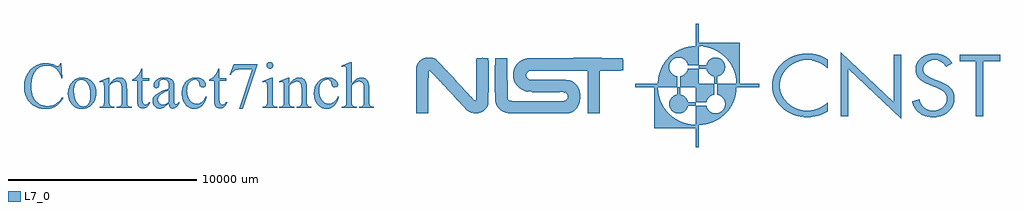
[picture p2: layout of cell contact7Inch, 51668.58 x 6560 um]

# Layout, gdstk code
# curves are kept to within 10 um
import gdstk
lib = gdstk.Library(unit=1e-6, precision=1e-09)
def P(c, l, *ps):  # polygons
    for p in ps: c.add(gdstk.Polygon(p, *l))
L7_0 = (7, 0)

contact7inch = lib.new_cell('contact7Inch')
P(contact7inch, L7_0, [(-6191.422,-83947.859),(-6398.338,-83920.322),(-6592.51,-83826.516),(-6038.686,-83817.971),(-5901.967,-83749.611),(-5807.908,-83631.618),(-5770.896,-83532.551),(-5743.558,-83374.17),(-5748.044,-83022.437),(-5806.927,-82768.012),(-5855.295,-82659.546),(-5931.708,-82543.711),(-6016.653,-82463.603),(-6114.62,-82415.537),(-6225.609,-82399.516),(-6339.154,-82420.542),(-6429.921,-82468.069),(-6508.216,-82552.343),(-6568.654,-82677.143),(-6597.73,-82796.426),(-6611.828,-82989.109),(-6598.561,-83193.553),(-6558.758,-83379.64),(-6507.811,-83515.291),(-6421.987,-83662.926),(-6340.571,-83748.109),(-6223.629,-83811.028),(-6117.937,-83826.516),(-6592.51,-83826.516),(-6670.383,-83761.706),(-6794.929,-83605.577),(-6874.006,-83446.891),(-6918.701,-83276.862),(-6928.034,-83078.876),(-6903,-82917.973),(-6847.925,-82757.794),(-6765.266,-82605.122),(-6663.008,-82481.995),(-6541.766,-82390.109),(-6408.146,-82328.144),(-6268.757,-82294.777),(-6128.739,-82289.477),(-5964.143,-82314.792),(-5817.064,-82373.861),(-5718.251,-82440.314),(-5601.828,-82558.453),(-5505.398,-82709.32),(-5453.969,-82839.628),(-5425.397,-82978.484),(-5420.544,-83140.865),(-5444.176,-83299.719),(-5496.165,-83460.014),(-5574.964,-83614.808),(-5675.538,-83741.541),(-5775.688,-83824.39),(-5888.448,-83886.332),(-6034.286,-83932.477)],
  [(-5251.484,-83900),(-5251.484,-83838.469),(-5098.14,-83814.772),(-5055.805,-83777.805),(-5030.292,-83716.804),(-5014.592,-83587.238),(-5014.738,-82837.974),(-5023.747,-82640.505),(-5053.664,-82551.503),(-5080.422,-82528.217),(-5136.984,-82515.719),(-5251.484,-82541.359),(-5277.109,-82479.828),(-4805.437,-82288.422),(-4731.953,-82288.422),(-4731.953,-82619.969),(-4529.194,-82417.932),(-4333.65,-82309.144),(-4238.585,-82289.717),(-4145.454,-82292.427),(-4035.223,-82324.47),(-3964.351,-82369.825),(-3869.553,-82495.267),(-3831.048,-82590.92),(-3811.664,-82693.457),(-3788.81,-83715.433),(-3767.497,-83768.091),(-3717.664,-83814.547),(-3563,-83838.469),(-3563,-83900),(-4337.172,-83900),(-4337.172,-83838.469),(-4211.777,-83830.139),(-4131.616,-83786.512),(-4091.078,-83706.891),(-4084.677,-83606.906),(-4085.118,-82853.798),(-4105.945,-82684.071),(-4172.312,-82552.941),(-4238.922,-82512.204),(-4326.922,-82498.625),(-4428.502,-82512.511),(-4529.867,-82554.168),(-4631.018,-82623.597),(-4731.953,-82720.797),(-4721.38,-83716.385),(-4700.067,-83765.891),(-4647.352,-83815.398),(-4477.312,-83838.469),(-4477.312,-83900)],
  [(-2078.312,-83932.469),(-2155.907,-83925.526),(-2258.885,-83889.076),(-2345.766,-83821.383),(-2406.547,-83734.234),(-1869.491,-83728.226),(-1726.685,-83667.474),(-1579.281,-83563.328),(-1579.281,-82966.891),(-1863.508,-83087.058),(-1975.232,-83150.185),(-2071.795,-83228.802),(-2141.067,-83333.076),(-2162.617,-83478.936),(-2122.426,-83609.848),(-2032.031,-83702.524),(-1921.078,-83734.234),(-2406.547,-83734.234),(-2449.233,-83573.347),(-2430.843,-83398.036),(-2358.1,-83273.659),(-2197.82,-83138.012),(-1993.65,-83029.01),(-1579.281,-82862.641),(-1597.867,-82603.73),(-1644.622,-82491.297),(-1718.875,-82426.717),(-1835.406,-82394.034),(-1966.375,-82407.199),(-2040.719,-82450.781),(-2089.422,-82513.16),(-2104.642,-82565.548),(-2104.745,-82720.265),(-2124.827,-82780.933),(-2176.005,-82830.576),(-2247.5,-82847.266),(-2317.528,-82829.907),(-2375.361,-82764.936),(-2391.047,-82681.5),(-2376.36,-82591.972),(-2332.301,-82507.12),(-2275.904,-82442.604),(-2179.994,-82369.652),(-2085.841,-82327.355),(-1946.823,-82296.112),(-1818.547,-82288.422),(-1672.747,-82298.277),(-1548.099,-82327.841),(-1452.371,-82372.677),(-1389.164,-82426.426),(-1340.855,-82497.001),(-1314.603,-82570.621),(-1297.778,-82770.626),(-1295.162,-83537.057),(-1277.439,-83672.918),(-1239.41,-83711.15),(-1178.1,-83708.698),(-1029,-83578.703),(-1029,-83674.406),(-1193.209,-83849.652),(-1328.751,-83921.753),(-1434.45,-83927.134),(-1515.091,-83886.276),(-1565.613,-83794.039),(-1579.281,-83674.406),(-1881.781,-83889.75),(-1977.055,-83921.789)],
  [(-239.906,-83947.859),(-368.938,-83933.867),(-518.21,-83877.021),(-654.129,-83776.449),(-751.221,-83665.549),(-825.562,-83533.957),(-875.122,-83382.713),(-902.226,-83166.023),(-895.279,-82985.439),(-872.117,-82861.61),(-817.215,-82711.645),(-734.862,-82578.983),(-627.113,-82465.066),(-506.309,-82378.546),(-374.504,-82320.867),(-231.699,-82292.027),(-72.537,-82292.718),(100.18,-82336.154),(258.073,-82441.313),(357.387,-82583.078),(371.906,-82664.406),(361.439,-82723.15),(330.039,-82769.508),(279.838,-82799.631),(144.317,-82800.538),(89.605,-82773.136),(53.917,-82734.735),(0.412,-82519.139),(-32.631,-82468.193),(-79.587,-82431.768),(-162.47,-82406.127),(-254.248,-82404.898),(-349.347,-82427.129),(-416.053,-82462.698),(-487.719,-82529.391),(-548.278,-82619.861),(-591.535,-82723.789),(-617.489,-82841.174),(-625.603,-83006.794),(-612.706,-83140.765),(-535.323,-83384.031),(-452.669,-83517.041),(-349.712,-83613.388),(-227.894,-83667.845),(-75.522,-83679.461),(42.078,-83652.625),(150.063,-83593.586),(253.692,-83489.767),(366.781,-83281.344),(416.344,-83305.266),(337.789,-83548.615),(272.046,-83663.146),(191.136,-83759.84),(-0.483,-83895.136),(-130.425,-83937.445)],
  [(3378.844,-83900),(3378.844,-83838.469),(3532.648,-83816.258),(3582.474,-83766.594),(3605.117,-83711.262),(3618.094,-83546.234),(3617.133,-82826.864),(3606.322,-82634.741),(3577.08,-82549.852),(3551.125,-82527.738),(3495.047,-82515.719),(3378.844,-82541.359),(3354.922,-82479.828),(3826.594,-82288.422),(3901.797,-82288.422),(3910.14,-83691.574),(3935.118,-83764.725),(3976.236,-83808.179),(4045.557,-83832.488),(4139.344,-83838.469),(4139.344,-83900)],
  [(4270.516,-83900),(4270.516,-83838.469),(4423.86,-83814.772),(4466.195,-83777.805),(4491.708,-83716.804),(4507.408,-83587.238),(4507.262,-82837.974),(4498.253,-82640.505),(4468.336,-82551.503),(4441.578,-82528.217),(4385.016,-82515.719),(4270.516,-82541.359),(4244.891,-82479.828),(4716.563,-82288.422),(4790.047,-82288.422),(4790.047,-82619.969),(4992.806,-82417.932),(5188.35,-82309.144),(5283.415,-82289.717),(5376.546,-82292.427),(5486.777,-82324.47),(5557.649,-82369.825),(5652.447,-82495.267),(5690.952,-82590.92),(5710.336,-82693.457),(5733.19,-83715.433),(5754.503,-83768.091),(5804.336,-83814.547),(5959,-83838.469),(5959,-83900),(5184.828,-83900),(5184.828,-83838.469),(5310.223,-83830.139),(5390.384,-83786.512),(5430.922,-83706.891),(5437.323,-83606.906),(5436.882,-82853.798),(5416.055,-82684.071),(5349.688,-82552.941),(5283.078,-82512.204),(5195.078,-82498.625),(5093.498,-82512.511),(4992.133,-82554.168),(4890.982,-82623.597),(4790.047,-82720.797),(4800.62,-83716.385),(4821.933,-83765.891),(4874.648,-83815.398),(5044.688,-83838.469),(5044.688,-83900)],
  [(6757.094,-83947.859),(6628.062,-83933.867),(6478.79,-83877.021),(6342.871,-83776.449),(6245.779,-83665.549),(6171.438,-83533.957),(6121.878,-83382.713),(6094.774,-83166.023),(6101.721,-82985.439),(6124.883,-82861.61),(6179.785,-82711.645),(6262.138,-82578.983),(6369.887,-82465.066),(6490.691,-82378.546),(6622.496,-82320.867),(6765.301,-82292.027),(6924.463,-82292.718),(7097.18,-82336.154),(7255.073,-82441.313),(7354.387,-82583.078),(7368.906,-82664.406),(7358.439,-82723.15),(7327.039,-82769.508),(7276.838,-82799.631),(7141.317,-82800.538),(7086.605,-82773.136),(7050.917,-82734.735),(6997.412,-82519.139),(6964.369,-82468.193),(6917.413,-82431.768),(6834.53,-82406.127),(6742.752,-82404.898),(6647.653,-82427.129),(6580.947,-82462.698),(6509.281,-82529.391),(6448.722,-82619.861),(6405.465,-82723.789),(6379.511,-82841.174),(6371.397,-83006.794),(6384.294,-83140.765),(6461.677,-83384.031),(6544.331,-83517.041),(6647.288,-83613.388),(6769.106,-83667.845),(6921.478,-83679.461),(7039.078,-83652.625),(7147.063,-83593.586),(7250.692,-83489.767),(7363.781,-83281.344),(7413.344,-83305.266),(7334.789,-83548.615),(7269.046,-83663.146),(7188.136,-83759.84),(6996.517,-83895.136),(6866.575,-83937.445)],
  [(-2964.859,-83925.641),(-3061.787,-83908.615),(-3153.805,-83857.913),(-3220.163,-83777.003),(-3251.621,-83684.041),(-3265.641,-83506.937),(-3265.641,-82454.203),(-3513.437,-82454.203),(-3513.437,-82397.797),(-3345.687,-82292.1),(-3206.699,-82145.317),(-3124.437,-82018.515),(-3036.641,-81820.172),(-2983.656,-81820.172),(-2983.656,-82334.562),(-2617.937,-82334.562),(-2617.937,-82454.203),(-2983.656,-82454.203),(-2983.656,-83469.328),(-2966.634,-83620.741),(-2940.078,-83674.414),(-2903.91,-83706.697),(-2814.096,-83726.843),(-2705.894,-83683.081),(-2636.734,-83588.969),(-2570.078,-83588.969),(-2642.293,-83735.721),(-2712.712,-83818.594),(-2822.273,-83892.593)],
  [(1113.141,-83925.641),(1016.213,-83908.615),(924.195,-83857.913),(857.837,-83777.003),(826.379,-83684.041),(812.359,-83506.937),(812.359,-82454.203),(564.563,-82454.203),(564.563,-82397.797),(732.313,-82292.1),(871.301,-82145.317),(953.563,-82018.515),(1041.359,-81820.172),(1094.344,-81820.172),(1094.344,-82334.562),(1460.063,-82334.562),(1460.063,-82454.203),(1094.344,-82454.203),(1094.344,-83469.328),(1111.366,-83620.741),(1137.922,-83674.414),(1174.09,-83706.697),(1263.904,-83726.843),(1372.106,-83683.081),(1441.266,-83588.969),(1507.922,-83588.969),(1435.707,-83735.721),(1365.288,-83818.594),(1255.727,-83892.593)],
  [(2132.984,-83947.859),(2825.125,-81861.187),(2141.13,-81861.908),(1989.675,-81879.211),(1912.531,-81907.328),(1812.799,-81978.302),(1681.813,-82150),(1632.266,-82131.203),(1854.422,-81582.609),(3096.859,-81582.609),(3096.859,-81647.562),(2324.391,-83947.859)],
  [(-8127.234,-83952.984),(-8267.156,-83946.309),(-8461.818,-83911.261),(-8692.955,-83817.8),(-8891.622,-83670.933),(-9074.588,-83444.503),(-9180.534,-83226.007),(-9246.865,-82934.734),(-9245.437,-82607.26),(-9181.651,-82326.829),(-9058.932,-82069.154),(-8914.857,-81881.902),(-8737.856,-81731.42),(-8532.095,-81619.522),(-8272.905,-81545.245),(-8013.255,-81531.563),(-7764.603,-81577.706),(-7518.832,-81680.883),(-7466.464,-81689.774),(-7386.791,-81645.717),(-7334.266,-81529.641),(-7274.453,-81529.641),(-7221.469,-82317.484),(-7274.453,-82317.484),(-7384.499,-82045.886),(-7462.951,-81924.761),(-7552.725,-81828.417),(-7735.39,-81713.436),(-7853.308,-81674.557),(-7981.052,-81655.117),(-8105.595,-81654.517),(-8268.219,-81681.953),(-8488.584,-81784.927),(-8594.145,-81877.134),(-8667.418,-81970.488),(-8783.737,-82209.201),(-8831.719,-82391.348),(-8858.84,-82597.859),(-8863.94,-82857.914),(-8840.307,-83074.129),(-8788.313,-83266.793),(-8723.292,-83408.515),(-8619.07,-83551.272),(-8510.374,-83647.103),(-8356.503,-83733.38),(-8185.835,-83785.29),(-7999.062,-83802.594),(-7786.715,-83778.453),(-7644.84,-83728.663),(-7512.419,-83645.841),(-7371.749,-83510.896),(-7221.469,-83322.359),(-7168.484,-83356.547),(-7357.336,-83624.432),(-7462.654,-83727.292),(-7575.234,-83809.43),(-7696.893,-83872.235),(-7829.445,-83917.096)],
  [(3759.938,-81816.75),(3693.295,-81803.932),(3636.898,-81765.477),(3598.443,-81709.08),(3585.625,-81642.437),(3598.229,-81575.998),(3636.039,-81520.242),(3692.221,-81482.432),(3759.938,-81469.828),(3826.377,-81482.432),(3882.133,-81520.242),(3919.943,-81575.998),(3932.547,-81642.437),(3919.943,-81709.08),(3882.133,-81765.477),(3826.377,-81803.932)],
  [(7573.516,-83900),(7573.516,-83838.469),(7686.47,-83825.786),(7768.346,-83781.229),(7807.654,-83668.436),(7811.98,-82008.259),(7802.966,-81818.276),(7773.04,-81729.488),(7746.282,-81706.201),(7689.734,-81693.703),(7573.516,-81721.047),(7549.594,-81661.234),(8017.859,-81469.828),(8096.469,-81469.828),(8096.469,-82614.844),(8336.797,-82386.209),(8508.332,-82303.162),(8619.422,-82288.422),(8714.108,-82298.757),(8823.909,-82344.689),(8893.176,-82403.893),(8964.098,-82519.249),(9010.051,-82700.131),(9036.19,-83716.391),(9056.698,-83769.049),(9104.766,-83814.547),(9255.156,-83838.469),(9255.156,-83900),(8486.109,-83900),(8486.109,-83838.469),(8632.684,-83825.453),(8702.542,-83775.712),(8733.922,-83706.891),(8739.047,-83546.234),(8737.391,-82875.36),(8718.764,-82678.692),(8688.24,-82601.262),(8641.992,-82546.042),(8581.02,-82510.905),(8487.828,-82495.219),(8380.476,-82512.574),(8290.304,-82552.171),(8096.469,-82719.094),(8106.563,-83718.958),(8125.309,-83765.046),(8181.063,-83811.984),(8349.391,-83838.469),(8349.391,-83900)],
  [(25401.625,-84191.406),(25210.283,-84153.344),(25048.072,-84044.961),(24949.631,-83905.187),(24902.227,-83715.937),(24923.154,-83546.266),(25015.119,-83374.211),(25144.574,-83262.539),(25316.625,-83198.836),(25316.625,-82791.406),(25486.625,-82791.406),(25486.625,-83198.836),(25637.324,-83250.445),(25755.178,-83337.852),(25842.586,-83455.711),(25894.195,-83606.406),(26301.625,-83606.406),(26301.625,-83776.406),(25894.195,-83776.406),(25830.49,-83948.461),(25718.822,-84077.914),(25570.07,-84162.18)],
  [(26301.625,-83606.406),(26301.625,-82791.406),(25486.625,-82791.406),(25486.625,-82223.977),(25637.324,-82172.367),(25755.178,-82084.961),(25842.586,-81967.102),(25894.195,-81816.406),(26461.625,-81816.406),(26461.625,-82631.406),(27276.625,-82631.406),(27276.625,-83198.836),(27125.926,-83250.445),(27008.072,-83337.852),(26920.664,-83455.711),(26869.055,-83606.406)],
  [(18555.539,-84188.82),(16383.298,-84171.677),(16250.501,-84139.967),(16115.844,-84084.005),(15995.39,-84010.555),(15892.653,-83922.053),(15808.374,-83816.66),(15739.574,-83684.296),(15707.874,-83576.901),(15690.452,-83431.18),(15677.953,-81795.431),(15683.81,-81383.299),(15700.115,-81271.034),(16124.092,-81257.337),(16287.961,-81265.776),(16316.211,-81283.001),(16333.096,-81611.408),(16351.755,-83270.738),(16361.453,-83446.142),(16380.509,-83489.13),(16455.435,-83520.369),(16652.326,-83534.986),(17943.229,-83541.953),(19082.302,-83539.765),(19387.543,-83526.389),(19464.165,-83476.648),(19520.541,-83395.575),(19538.852,-83307.724),(19521.239,-83217.905),(19457.641,-83114.228),(19317.325,-83082.056),(17721.032,-83057.481),(17412.275,-83038.965),(17238.517,-82985.06),(16991.214,-82839.61),(16825.992,-82682.272),(16712.234,-82507.478),(16653.676,-82306.783),(16645.978,-82088.073),(16693.021,-81857.364),(16794.233,-81647.513),(16923.7,-81500.161),(17110.903,-81377.714),(17333.352,-81293.231),(17532.337,-81268.2),(20829.494,-81254.802),(22442.317,-81271.036),(22457.92,-81410.584),(22455.107,-81914.469),(21233.869,-81934.312),(21218.229,-84181.953),(20593.869,-84181.953),(20585.869,-81926.508),(17515.869,-81926.508),(17447.711,-81973.108),(17353.01,-82084.399),(17333.123,-82210.014),(17387.293,-82316.808),(17519.029,-82402.586),(19239.141,-82416.761),(19596.022,-82432.564),(19746.401,-82491.533),(19889.957,-82587.553),(20003.719,-82704.781),(20093.206,-82846.25),(20152.699,-82993.168),(20177.357,-83112.769),(20185.931,-83320.802),(20168.782,-83524.257),(20129.535,-83670.166),(20069.391,-83804.999),(19991.498,-83922.502),(19897.297,-84021.019),(19745.163,-84121.77),(19583.89,-84174.123)],
  [(11820.868,-84189.789),(11548.194,-84182.823),(11512.33,-84173.611),(11507.707,-84152.405),(11519.269,-81758.647),(11535.068,-81670.762),(11586.652,-81560.994),(11650.808,-81469.265),(11735.93,-81384.864),(11919.846,-81275.567),(12097.615,-81235.215),(12356.037,-81248.34),(12451.46,-81278.742),(12553.468,-81333.841),(13014.379,-81807.202),(14559.897,-83468.449),(14607.822,-83514.771),(14653.463,-83530.492),(14673.343,-83500.18),(14682.034,-83340.264),(14688.03,-81626.272),(14703.251,-81294.425),(14731.441,-81268.271),(14818.391,-81257.967),(15323.16,-81268.997),(15338.727,-81682.724),(15333.868,-83698.07),(15231.226,-83885.625),(15105.494,-84020.486),(15007.776,-84087.572),(14897.395,-84137.9),(14778.912,-84171.127),(14666.046,-84182.207),(14441.065,-84143.913),(14211.762,-84027.725),(13801.152,-83607.464),(12388.141,-82089.715),(12245.083,-81944.122),(12216.362,-81936.421),(12174.856,-81956.485),(12162.581,-82089.458),(12142.811,-84154.467),(12126.482,-84175.479),(12086.151,-84184.928)],
  [(27276.625,-82631.406),(27276.625,-82223.977),(27125.926,-82172.367),(27008.072,-82084.961),(26920.664,-81967.102),(26869.055,-81816.406),(26461.625,-81816.406),(26461.625,-81646.406),(26869.055,-81646.406),(26932.76,-81474.352),(27063.775,-81329.805),(27240.135,-81246.391),(27410.633,-81233.812),(27597.324,-81290.445),(27748.131,-81414.211),(27840.096,-81586.266),(27859.217,-81780.414),(27813.619,-81945.187),(27732.1,-82067.187),(27597.324,-82172.367),(27446.625,-82223.977),(27446.625,-82631.406)],
  [(41139.023,-84332.508),(41139.023,-81417.828),(40273.586,-81417.828),(40273.586,-81081.75),(42413.426,-81081.75),(42413.426,-81417.828),(41538.586,-81417.828),(41538.586,-84332.508)],
  [(32218.42,-84388.469),(31858.62,-84356.667),(31509.604,-84261.436),(31182.08,-84103.821),(30896.342,-83893.128),(30661.366,-83636.676),(30490.479,-83351.213),(30386.228,-83046.497),(30349.824,-82720.187),(30385.687,-82390.274),(30492.973,-82071.97),(30664.029,-81783.168),(30899.084,-81523.617),(31185.346,-81310.499),(31503.862,-81155.409),(31854.907,-81058.14),(32218.744,-81025.625),(32509.584,-81045.18),(32783.95,-81104.36),(33043.173,-81203.943),(33288.586,-81344.703),(33288.586,-81793.148),(33124.711,-81659.399),(32934.523,-81543.48),(32737.129,-81457.233),(32528.112,-81397.431),(32310.617,-81366.178),(32101.944,-81364.756),(31894.56,-81392.124),(31689.33,-81449.535),(31490.283,-81537.815),(31308.998,-81652.156),(31148.243,-81789.523),(31010.783,-81946.878),(30899.384,-82121.185),(30816.812,-82309.408),(30765.834,-82508.509),(30749.186,-82707.062),(30765.954,-82905.643),(30814.612,-83096.977),(30896.546,-83285.685),(31007.612,-83460.587),(31145.018,-83618.65),(31305.975,-83756.841),(31487.689,-83872.127),(31687.37,-83961.477),(31893.377,-84020.036),(32101.638,-84048.62),(32308.251,-84048.298),(32513.292,-84019.17),(32720.946,-83960.303),(32926.615,-83871.105),(33117.144,-83756.906),(33288.586,-83621.109),(33288.586,-84069.547),(33044.439,-84204.749),(32780.305,-84304.893),(32502.851,-84367.094)],
  [(38875.625,-84388.469),(38673.4,-84373.974),(38480.129,-84329.878),(38304.512,-84258.136),(38148.498,-84160.72),(38010.202,-84035.454),(37900.008,-83891.955),(37815.326,-83728.756),(37758.105,-83547.828),(38148.105,-83448.75),(38175.711,-83562.6),(38224.532,-83676.264),(38291.938,-83779.478),(38376.485,-83869.765),(38576.187,-83995.594),(38812.745,-84050.419),(39043.107,-84033.251),(39253.748,-83956.43),(39427.795,-83828.413),(39545.737,-83664.924),(39596.181,-83506.665),(39598.354,-83342.214),(39556.36,-83196.247),(39467.35,-83067.839),(39361.702,-82978.186),(39221.927,-82895.579),(38551.438,-82610.794),(38269.94,-82453.376),(38157.113,-82361.229),(38064.569,-82254.777),(37999.407,-82139.379),(37959.11,-82011.156),(37944.794,-81812.501),(37978.291,-81625.628),(38057.519,-81455.809),(38179.828,-81307.282),(38346.368,-81181.869),(38543.474,-81091.417),(38763.122,-81038.721),(38993.696,-81026.471),(39259.162,-81066.166),(39503.898,-81166.433),(39711.381,-81322.531),(39874.344,-81530.023),(39555.625,-81715.469),(39398.243,-81522.933),(39311.818,-81457.461),(39213.68,-81408.371),(39101.432,-81376.453),(38972.675,-81362.496),(38849.309,-81367.268),(38730.313,-81392.426),(38541.704,-81486.343),(38406.616,-81633.867),(38366.365,-81721.54),(38345.542,-81818.31),(38345.899,-81910.945),(38369.336,-81998.098),(38456.699,-82124.375),(38608.71,-82237.907),(39414.46,-82588.559),(39592.981,-82687.326),(39732.151,-82789.466),(39856.03,-82920.188),(39941.63,-83067.085),(39989.683,-83230.224),(40001.891,-83417.252),(39975.193,-83609.205),(39908.584,-83792.374),(39802.528,-83961.897),(39663.043,-84108.057),(39494.639,-84227.319),(39301.825,-84316.152),(39096.013,-84369.854)],
  [(37182.945,-84479.062),(34386.863,-81827.508),(34386.863,-84332.508),(33987.465,-84332.508),(33987.465,-80943.75),(36783.426,-83599.547),(36783.426,-81081.75),(37182.945,-81081.75)],
  [(26301.625,-85991.406),(26301.625,-84971.406),(24121.625,-84971.406),(24121.625,-84791.406),(26301.625,-84791.406),(26301.625,-83776.406),(26869.055,-83776.406),(26920.664,-83927.102),(27008.072,-84044.961),(27125.926,-84132.367),(27264.08,-84181.797),(27386.158,-84190.805),(27483.115,-84176.422),(27597.324,-84132.367),(27697.404,-84061.883),(27790.49,-83948.461),(27840.096,-83836.547),(27861.023,-83715.937),(27852.018,-83593.859),(27802.586,-83455.711),(27715.178,-83337.852),(27597.324,-83250.445),(27446.625,-83198.836),(27446.625,-82631.406),(28461.625,-82631.406),(28427.836,-82265.328),(28318.637,-81888.773),(28138.074,-81540.758),(27910.119,-81252.328),(27613.242,-80996.234),(27425.992,-80879.266),(27249.609,-80793.18),(27042.195,-80717.523),(26851.805,-80669.836),(26461.625,-80631.406),(26461.625,-81646.406),(25894.195,-81646.406),(25863.564,-81540.062),(25803.229,-81433.555),(25718.822,-81344.898),(25615.402,-81279.414),(25499.17,-81241.016),(25377.092,-81232.008),(25280.135,-81246.391),(25165.926,-81290.445),(25048.072,-81377.852),(24960.664,-81495.711),(24911.232,-81633.859),(24904.033,-81780.414),(24949.631,-81945.187),(25031.15,-82067.187),(25165.926,-82172.367),(25316.625,-82223.977),(25316.625,-82791.406),(24301.625,-82791.406),(24340.055,-83181.586),(24453.865,-83556.773),(24638.686,-83902.547),(24887.412,-84205.617),(25190.484,-84454.344),(25536.258,-84639.164),(25911.445,-84752.977),(26301.625,-84791.406),(24121.625,-84791.406),(24121.625,-82791.406),(23101.625,-82791.406),(23101.625,-82631.406),(24301.625,-82631.406),(24340.055,-82241.227),(24453.865,-81866.039),(24638.686,-81520.266),(24887.412,-81217.195),(25190.484,-80968.469),(25536.258,-80783.648),(25911.445,-80669.836),(26301.625,-80631.406),(26301.625,-79431.406),(26461.625,-79431.406),(26461.625,-80451.406),(28641.625,-80451.406),(28641.625,-82631.406),(29661.625,-82631.406),(29661.625,-82791.406),(28461.625,-82791.406),(28423.195,-83181.586),(28309.385,-83556.773),(28124.564,-83902.547),(27875.838,-84205.617),(27572.766,-84454.344),(27226.992,-84639.164),(26851.805,-84752.977),(26461.625,-84791.406),(26461.625,-85991.406)])

lib.write_gds('contact7Inch.gds')
